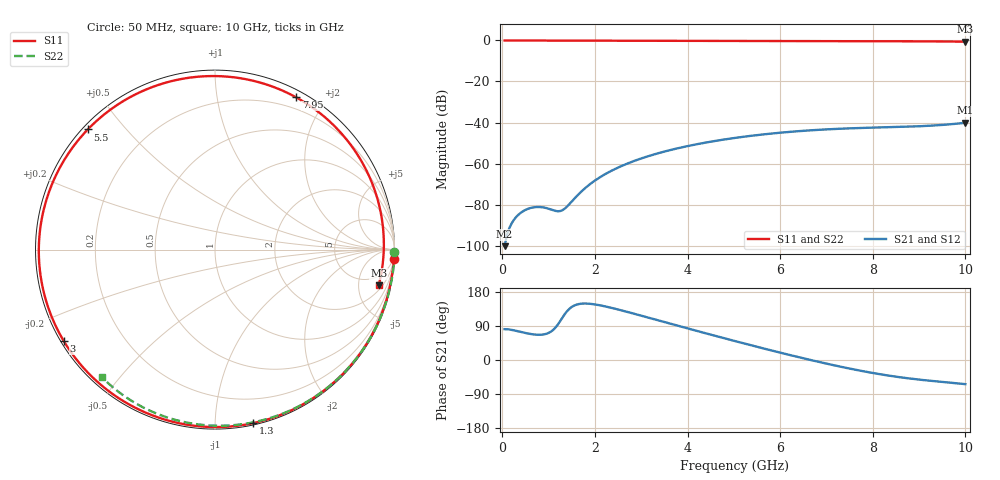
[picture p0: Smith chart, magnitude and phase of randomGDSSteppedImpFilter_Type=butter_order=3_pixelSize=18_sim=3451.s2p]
! freq	dB(S11)	phase(S11)	dB(S12)	phase(S12)
!  dB(S21)	phase(S21)	dB(S22)	phase(S22)
!S-par simulation data
#  GHz  S  DB  R 50
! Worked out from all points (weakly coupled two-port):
!   200 points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, 50 MHz to 10 GHz, reference 50 ohm
!   highest |S21| = -40.11 dB at 10 GHz (marker M1); lowest = -100.2 dB at 50 MHz (marker M2)
!   lowest |S11| = -0.6 dB at 10 GHz (marker M3), VSWR 28.98, Z = 136 - j420 ohm
!   |S11| at or under -10 dB: nowhere
!   |S22| runs from -0.4 to 0.0 dB; largest |S21 - S12| = 0
!   S11 on the Smith chart (normalised r, x): 50 MHz: 1, -37; 1.3 GHz: 0.01, -1.24; 3 GHz: 0.01, -0.28; 5.5 GHz: 0.01, +0.40; 7.95 GHz: 0.07, +1.66; 10 GHz: 2.73, -8.41
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0.05  -0.01 -3.1  -100.22 81.3  -100.22 81.3  -0.00 -0.8
0.35  -0.04 -22.4  -84.86 75.4  -84.86 75.4  -0.00 -5.3
0.7  -0.06 -44.0  -81.23 67.2  -81.23 67.2  -0.01 -10.6
1  -0.07 -61.5  -81.97 71.4  -81.97 71.4  -0.02 -15.1
1.3  -0.09 -77.7  -82.68 112.2  -82.68 112.2  -0.02 -19.6
1.45  -0.09 -85.4  -79.70 135.3  -79.70 135.3  -0.03 -21.8
1.75  -0.10 -99.7  -72.71 149.0  -72.71 149.0  -0.03 -26.2
2  -0.11 -110.8  -68.26 146.7  -68.26 146.7  -0.04 -29.9
2.3  -0.12 -123.2  -64.16 139.3  -64.16 139.3  -0.04 -34.3
3  -0.13 -148.8  -57.49 117.0  -57.49 117.0  -0.06 -44.3
3.4  -0.14 -162.0  -54.74 103.6  -54.74 103.6  -0.07 -49.9
4.2  -0.17 173.7  -50.56 76.8  -50.56 76.8  -0.09 -60.9
5.05  -0.20 149.4  -47.40 49.1  -47.40 49.1  -0.11 -72.3
5.5  -0.22 136.7  -46.11 34.9  -46.11 34.9  -0.13 -78.1
6.1  -0.25 119.4  -44.74 16.4  -44.74 16.4  -0.15 -85.7
6.7  -0.27 101.7  -43.72 -1.2  -43.72 -1.2  -0.18 -93.1
7.35  -0.31 81.5  -42.95 -18.8  -42.95 -18.8  -0.22 -101.0
7.95  -0.34 61.9  -42.50 -33.2  -42.50 -33.2  -0.26 -108.1
8.35  -0.37 48.3  -42.27 -41.3  -42.27 -41.3  -0.29 -112.7
9.2  -0.46 17.9  -41.59 -54.3  -41.59 -54.3  -0.36 -122.5
9.6  -0.52 3.0  -40.98 -59.0  -40.98 -59.0  -0.40 -127.0
10  -0.60 -12.3  -40.11 -63.7  -40.11 -63.7  -0.45 -131.5
